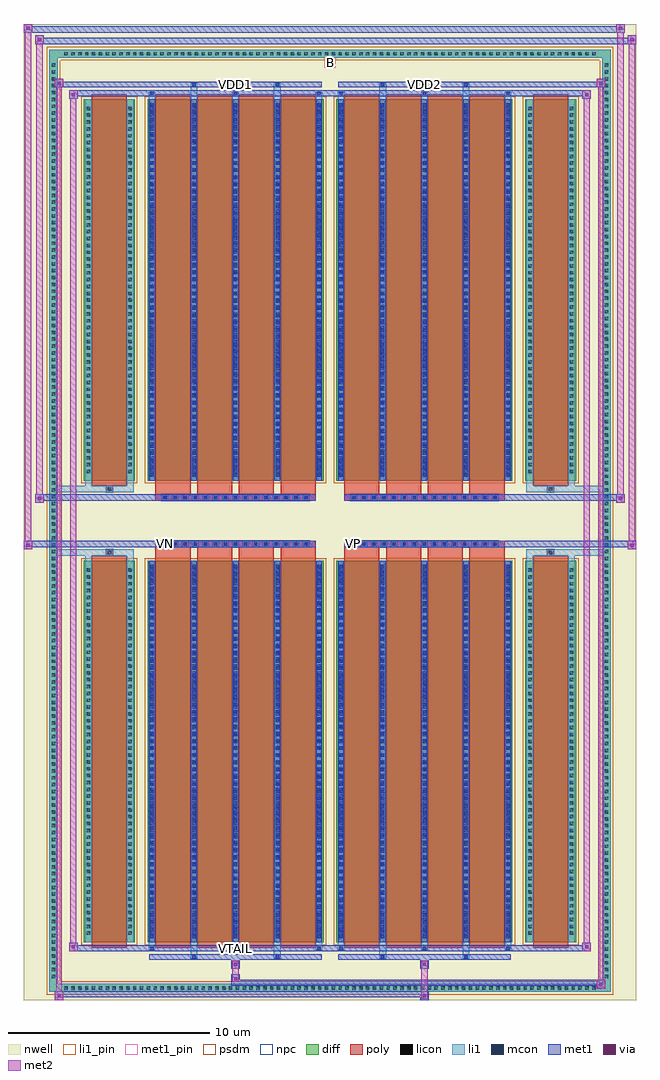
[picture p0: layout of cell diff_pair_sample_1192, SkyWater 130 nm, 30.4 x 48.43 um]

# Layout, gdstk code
import gdstk
lib = gdstk.Library(unit=1e-6, precision=5e-09)
def R(c, l, rs):  # rectangles x0, y0, x1, y1
    for r in rs: c.add(gdstk.rectangle(r[:2], r[2:], *l))
def A(c, l, x, y, w, h, nx, ny, dx, dy):  # array of equal rectangles
    R(c, l, [(x+i*dx, y+j*dy, x+i*dx+w, y+j*dy+h) for i in range(nx) for j in range(ny)])
def P(c, l, *ps):  # polygons
    for p in ps: c.add(gdstk.Polygon(p, *l))
nwell = (64, 20)
diff = (65, 20)
poly = (66, 20)
licon = (66, 44)
li1_pin = (67, 16)
li1 = (67, 20)
mcon = (67, 44)
met1_pin = (68, 16)
met1 = (68, 20)
via = (68, 44)
met2 = (69, 20)
psdm = (94, 20)
npc = (95, 20)

diff_pair_sample_1192 = lib.new_cell('diff_pair_sample_1192')
R(diff_pair_sample_1192, nwell, [(-15.2,-23.78,15.2,24.65), (-12.52,-21.97,-0.01,-0.795), (0.01,-21.97,12.52,-0.795), (-12.52,0.795,-0.01,21.97), (0.01,0.795,12.52,21.97)])
A(diff_pair_sample_1192, diff, -13.295, -23.38, 0.41, 0.41, 78, 2, 0.34, 46.35)
A(diff_pair_sample_1192, diff, -13.93, -22.815, 0.41, 0.41, 1, 134, 0, 0.34)
A(diff_pair_sample_1192, diff, 13.52, -22.815, 0.41, 0.41, 1, 134, 0, 0.34)
R(diff_pair_sample_1192, diff, [(-13.295,-23.38,13.295,-22.97), (-13.93,-22.815,-13.52,22.815), (13.52,-22.815,13.93,22.815), (-12.21,-20.925,-9.69,-1.985), (-9.05,-20.925,-0.32,-1.985), (0.32,-20.925,9.05,-1.985), (9.69,-20.925,12.21,-1.985), (-12.21,1.985,-9.69,20.925), (-9.05,1.985,-0.32,20.925), (0.32,1.985,9.05,20.925), (9.69,1.985,12.21,20.925), (-13.295,22.97,13.295,23.38)])
P(diff_pair_sample_1192, diff, [(13.93,23.38),(-13.93,23.38),(-13.93,-22.97),(-13.52,-22.97),(-13.52,22.97),(13.52,22.97),(13.52,-22.97),(-13.52,-22.97),(-13.93,-22.97),(-13.93,-23.38),(13.93,-23.38)])
A(diff_pair_sample_1192, poly, -8.66, -21.175, 1.74, 19.44, 4, 2, 2.07, 22.91)
A(diff_pair_sample_1192, poly, 0.71, -21.175, 1.74, 19.44, 4, 2, 2.07, 22.91)
A(diff_pair_sample_1192, poly, -8.66, -1.735, 1.74, 0.41, 4, 2, 2.07, 3.06)
A(diff_pair_sample_1192, poly, 0.71, -1.735, 1.74, 0.41, 4, 2, 2.07, 3.06)
A(diff_pair_sample_1192, poly, -8.35, -1.325, 0.33, 0.33, 15, 2, 0.5, 2.32)
A(diff_pair_sample_1192, poly, 1.02, -1.325, 0.33, 0.33, 15, 2, 0.5, 2.32)
R(diff_pair_sample_1192, poly, [(-11.82,-21.175,-10.08,-1.735), (10.08,-21.175,11.82,-1.735), (-11.115,-1.735,-10.785,-1.405), (-11.115,-1.735,-10.785,-1.405), (10.785,-1.735,11.115,-1.405), (10.785,-1.735,11.115,-1.405), (-8.66,-1.325,-0.71,-0.995), (0.71,-1.325,8.66,-0.995), (-8.66,0.995,-0.71,1.325), (0.71,0.995,8.66,1.325), (-11.115,1.405,-10.785,1.735), (-11.115,1.405,-10.785,1.735), (10.785,1.405,11.115,1.735), (10.785,1.405,11.115,1.735), (-11.82,1.735,-10.08,21.175), (10.08,1.735,11.82,21.175)])
A(diff_pair_sample_1192, licon, -13.175, -23.26, 0.17, 0.17, 78, 2, 0.34, 46.35)
A(diff_pair_sample_1192, licon, -13.81, -22.695, 0.17, 0.17, 1, 134, 0, 0.34)
A(diff_pair_sample_1192, licon, 13.64, -22.695, 0.17, 0.17, 1, 134, 0, 0.34)
A(diff_pair_sample_1192, licon, -12.07, -20.55, 0.17, 0.17, 1, 54, 0, 0.34)
A(diff_pair_sample_1192, licon, -10, -20.55, 0.17, 0.17, 1, 54, 0, 0.34)
A(diff_pair_sample_1192, licon, -8.91, -20.55, 0.17, 0.17, 5, 54, 2.07, 0.34)
A(diff_pair_sample_1192, licon, 0.46, -20.55, 0.17, 0.17, 5, 54, 2.07, 0.34)
A(diff_pair_sample_1192, licon, 9.83, -20.55, 0.17, 0.17, 1, 54, 0, 0.34)
A(diff_pair_sample_1192, licon, 11.9, -20.55, 0.17, 0.17, 1, 54, 0, 0.34)
A(diff_pair_sample_1192, licon, -8.27, -1.245, 0.17, 0.17, 15, 2, 0.5, 2.32)
A(diff_pair_sample_1192, licon, 1.1, -1.245, 0.17, 0.17, 15, 2, 0.5, 2.32)
A(diff_pair_sample_1192, licon, -12.07, 2.36, 0.17, 0.17, 1, 54, 0, 0.34)
A(diff_pair_sample_1192, licon, -10, 2.36, 0.17, 0.17, 1, 54, 0, 0.34)
A(diff_pair_sample_1192, licon, -8.91, 2.36, 0.17, 0.17, 5, 54, 2.07, 0.34)
A(diff_pair_sample_1192, licon, 0.46, 2.36, 0.17, 0.17, 5, 54, 2.07, 0.34)
A(diff_pair_sample_1192, licon, 9.83, 2.36, 0.17, 0.17, 1, 54, 0, 0.34)
A(diff_pair_sample_1192, licon, 11.9, 2.36, 0.17, 0.17, 1, 54, 0, 0.34)
R(diff_pair_sample_1192, licon, [(-11.035,-1.655,-10.865,-1.485), (10.865,-1.655,11.035,-1.485), (-11.035,1.485,-10.865,1.655), (10.865,1.485,11.035,1.655)])
R(diff_pair_sample_1192, li1_pin, [(-0.25,22.47,0.25,22.97)])
A(diff_pair_sample_1192, li1, -13.255, -23.34, 0.33, 0.33, 78, 2, 0.34, 46.35)
A(diff_pair_sample_1192, li1, -13.89, -22.775, 0.33, 0.33, 1, 134, 0, 0.34)
A(diff_pair_sample_1192, li1, 13.56, -22.775, 0.33, 0.33, 1, 134, 0, 0.34)
A(diff_pair_sample_1192, li1, -8.99, -21.3, 0.33, 0.375, 3, 2, 4.14, 42.225)
A(diff_pair_sample_1192, li1, -8.91, -21.3, 0.17, 0.17, 3, 2, 4.14, 42.43)
A(diff_pair_sample_1192, li1, 0.38, -21.3, 0.33, 0.375, 3, 2, 4.14, 42.225)
A(diff_pair_sample_1192, li1, 0.46, -21.3, 0.17, 0.17, 3, 2, 4.14, 42.43)
A(diff_pair_sample_1192, li1, -8.99, -20.925, 0.33, 18.94, 5, 2, 2.07, 22.91)
A(diff_pair_sample_1192, li1, 0.38, -20.925, 0.33, 18.94, 5, 2, 2.07, 22.91)
A(diff_pair_sample_1192, li1, -8.91, -20.72, 0.17, 0.17, 5, 52, 2.07, 0.36)
A(diff_pair_sample_1192, li1, -8.91, -20.72, 0.17, 18.53, 5, 2, 2.07, 22.91)
A(diff_pair_sample_1192, li1, 0.46, -20.72, 0.17, 0.17, 5, 52, 2.07, 0.36)
A(diff_pair_sample_1192, li1, 0.46, -20.72, 0.17, 18.53, 5, 2, 2.07, 22.91)
A(diff_pair_sample_1192, li1, -12.15, -20.63, 0.33, 0.33, 1, 54, 0, 0.34)
A(diff_pair_sample_1192, li1, -10.08, -20.63, 0.33, 0.33, 1, 54, 0, 0.34)
A(diff_pair_sample_1192, li1, -8.99, -20.63, 0.33, 0.33, 5, 54, 2.07, 0.34)
A(diff_pair_sample_1192, li1, 0.38, -20.63, 0.33, 0.33, 5, 54, 2.07, 0.34)
A(diff_pair_sample_1192, li1, 9.75, -20.63, 0.33, 0.33, 1, 54, 0, 0.34)
A(diff_pair_sample_1192, li1, 11.82, -20.63, 0.33, 0.33, 1, 54, 0, 0.34)
A(diff_pair_sample_1192, li1, -8.35, -1.325, 0.33, 0.33, 15, 2, 0.5, 2.32)
A(diff_pair_sample_1192, li1, 1.02, -1.325, 0.33, 0.33, 15, 2, 0.5, 2.32)
A(diff_pair_sample_1192, li1, -8.91, 2.19, 0.17, 0.17, 5, 52, 2.07, 0.36)
A(diff_pair_sample_1192, li1, 0.46, 2.19, 0.17, 0.17, 5, 52, 2.07, 0.36)
A(diff_pair_sample_1192, li1, -12.15, 2.28, 0.33, 0.33, 1, 54, 0, 0.34)
A(diff_pair_sample_1192, li1, -10.08, 2.28, 0.33, 0.33, 1, 54, 0, 0.34)
A(diff_pair_sample_1192, li1, -8.99, 2.28, 0.33, 0.33, 5, 54, 2.07, 0.34)
A(diff_pair_sample_1192, li1, 0.38, 2.28, 0.33, 0.33, 5, 54, 2.07, 0.34)
A(diff_pair_sample_1192, li1, 9.75, 2.28, 0.33, 0.33, 1, 54, 0, 0.34)
A(diff_pair_sample_1192, li1, 11.82, 2.28, 0.33, 0.33, 1, 54, 0, 0.34)
R(diff_pair_sample_1192, li1, [(-13.93,-23.38,-13.52,-22.97), (-13.93,-23.38,-13.52,-22.97), (-13.52,-23.38,13.52,-22.97), (13.52,-23.38,13.93,-22.97), (13.52,-23.38,13.93,-22.97), (-13.93,-22.97,-13.52,22.97), (13.52,-22.97,13.93,22.97), (-6.92,-21.73,-6.59,-20.925), (-6.84,-21.73,-6.67,-21.56), (-2.78,-21.73,-2.45,-20.925), (-2.7,-21.73,-2.53,-21.56), (2.45,-21.73,2.78,-20.925), (2.53,-21.73,2.7,-21.56), (6.59,-21.73,6.92,-20.925), (6.67,-21.73,6.84,-21.56), (-12.15,-20.925,-11.82,-1.985), (-10.08,-20.925,-9.75,-1.985), (9.75,-20.925,10.08,-1.985), (11.82,-20.925,12.15,-1.985), (-12.15,-1.985,-11.82,-1.405), (-10.08,-1.985,-9.75,-1.405), (9.75,-1.985,10.08,-1.405), (11.82,-1.985,12.15,-1.405), (-13.93,-1.735,-11.115,-1.405), (-12.15,-1.735,-11.115,-1.405), (-11.115,-1.735,-10.785,-1.405), (-10.785,-1.735,-9.75,-1.405), (9.75,-1.735,10.785,-1.405), (10.785,-1.735,11.115,-1.405), (10.785,-1.735,13.93,-1.405), (11.115,-1.735,12.15,-1.405), (-13.93,1.405,-11.115,1.735), (-12.15,1.405,-11.115,1.735), (-12.15,1.405,-11.82,1.985), (-11.115,1.405,-10.785,1.735), (-10.785,1.405,-9.75,1.735), (-10.08,1.405,-9.75,1.985), (9.75,1.405,10.785,1.735), (9.75,1.405,10.08,1.985), (10.785,1.405,11.115,1.735), (10.785,1.405,13.93,1.735), (11.115,1.405,12.15,1.735), (11.82,1.405,12.15,1.985), (-12.15,1.985,-11.82,20.925), (-10.08,1.985,-9.75,20.925), (9.75,1.985,10.08,20.925), (11.82,1.985,12.15,20.925), (-6.92,20.925,-6.59,21.73), (-2.78,20.925,-2.45,21.73), (2.45,20.925,2.78,21.73), (6.59,20.925,6.92,21.73), (-6.84,21.56,-6.67,21.73), (-2.7,21.56,-2.53,21.73), (2.53,21.56,2.7,21.73), (6.67,21.56,6.84,21.73), (-13.93,22.97,-13.52,23.38), (-13.93,22.97,-13.52,23.38), (-13.52,22.97,13.52,23.38), (13.52,22.97,13.93,23.38), (13.52,22.97,13.93,23.38)])
A(diff_pair_sample_1192, mcon, -8.91, -21.3, 0.17, 0.17, 3, 2, 4.14, 42.43)
A(diff_pair_sample_1192, mcon, 0.46, -21.3, 0.17, 0.17, 3, 2, 4.14, 42.43)
A(diff_pair_sample_1192, mcon, -8.91, -20.72, 0.17, 0.17, 5, 52, 2.07, 0.36)
A(diff_pair_sample_1192, mcon, 0.46, -20.72, 0.17, 0.17, 5, 52, 2.07, 0.36)
A(diff_pair_sample_1192, mcon, -8.27, -1.245, 0.17, 0.17, 15, 2, 0.5, 2.32)
A(diff_pair_sample_1192, mcon, 1.1, -1.245, 0.17, 0.17, 15, 2, 0.5, 2.32)
A(diff_pair_sample_1192, mcon, -8.91, 2.19, 0.17, 0.17, 5, 52, 2.07, 0.36)
A(diff_pair_sample_1192, mcon, 0.46, 2.19, 0.17, 0.17, 5, 52, 2.07, 0.36)
R(diff_pair_sample_1192, mcon, [(-6.84,-21.73,-6.67,-21.56), (-2.7,-21.73,-2.53,-21.56), (2.53,-21.73,2.7,-21.56), (6.67,-21.73,6.84,-21.56), (-6.84,21.56,-6.67,21.73), (-2.7,21.56,-2.53,21.73), (2.53,21.56,2.7,21.73), (6.67,21.56,6.84,21.73)])
R(diff_pair_sample_1192, met1_pin, [(-4.82,-21.34,-4.55,-21.07), (-8.32,-1.285,-8.05,-1.015), (1.05,-1.285,1.32,-1.015), (-4.82,21.52,-4.55,21.79), (4.55,21.52,4.82,21.79)])
A(diff_pair_sample_1192, met1, -8.97, -21.36, 0.29, 0.29, 3, 2, 4.14, 42.43)
A(diff_pair_sample_1192, met1, 0.4, -21.36, 0.29, 0.29, 3, 2, 4.14, 42.43)
A(diff_pair_sample_1192, met1, -8.97, -20.925, 0.29, 18.94, 5, 2, 2.07, 22.91)
A(diff_pair_sample_1192, met1, 0.4, -20.925, 0.29, 18.94, 5, 2, 2.07, 22.91)
A(diff_pair_sample_1192, met1, -8.97, -20.78, 0.29, 0.29, 5, 52, 2.07, 0.36)
A(diff_pair_sample_1192, met1, 0.4, -20.78, 0.29, 0.29, 5, 52, 2.07, 0.36)
A(diff_pair_sample_1192, met1, -8.33, -1.305, 0.29, 0.29, 15, 2, 0.5, 2.32)
A(diff_pair_sample_1192, met1, 1.04, -1.305, 0.29, 0.29, 15, 2, 0.5, 2.32)
A(diff_pair_sample_1192, met1, -8.97, 2.13, 0.29, 0.29, 5, 52, 2.07, 0.36)
A(diff_pair_sample_1192, met1, 0.4, 2.13, 0.29, 0.29, 5, 52, 2.07, 0.36)
R(diff_pair_sample_1192, met1, [(-13.66,-23.78,-13.23,-23.35), (4.47,-23.78,4.9,-23.35), (-13.66,-23.64,4.9,-23.35), (13.23,-23.21,13.66,-22.78), (-4.9,-23.07,13.66,-22.78), (-4.9,-22.93,-4.47,-22.5), (-4.9,-22.22,-4.47,-21.79), (4.47,-22.22,4.9,-21.79), (-8.97,-21.79,-0.4,-21.5), (-6.9,-21.79,-6.61,-21.5), (-2.76,-21.79,-2.47,-21.5), (0.4,-21.79,8.97,-21.5), (2.47,-21.79,2.76,-21.5), (6.61,-21.79,6.9,-21.5), (-12.95,-21.36,-12.52,-20.93), (-12.95,-21.36,-8.97,-21.07), (-8.97,-21.36,-0.4,-21.07), (-0.4,-21.36,0.4,-21.07), (0.4,-21.36,8.97,-21.07), (8.97,-21.36,12.95,-21.07), (12.52,-21.36,12.95,-20.93), (-15.2,-1.425,-14.77,-0.995), (14.77,-1.425,15.2,-0.995), (-15.2,-1.325,-0.71,-0.995), (-8.66,-1.325,-0.71,-0.995), (0.71,-1.325,8.66,-0.995), (0.71,-1.325,15.2,-0.995), (-14.63,0.895,-14.2,1.325), (14.2,0.895,14.63,1.325), (-14.63,0.995,-8.66,1.325), (-8.66,0.995,-0.71,1.325), (0.71,0.995,8.66,1.325), (8.66,0.995,14.63,1.325), (-12.95,20.93,-12.52,21.36), (12.52,20.93,12.95,21.36), (-12.95,21.07,-8.97,21.36), (-8.97,21.07,-0.4,21.36), (-0.4,21.07,0.4,21.36), (0.4,21.07,8.97,21.36), (8.97,21.07,12.95,21.36), (-13.66,21.5,-13.23,21.93), (-13.66,21.5,-8.97,21.79), (-8.97,21.5,-0.4,21.79), (-6.9,21.5,-6.61,21.79), (-2.76,21.5,-2.47,21.79), (0.4,21.5,8.97,21.79), (2.47,21.5,2.76,21.79), (6.61,21.5,6.9,21.79), (8.97,21.5,13.66,21.79), (13.23,21.5,13.66,21.93), (-14.63,23.65,-14.2,24.08), (-14.63,23.65,-12.52,23.98), (-12.52,23.65,12.52,23.98), (12.52,23.65,15.2,23.98), (14.77,23.65,15.2,24.08), (-15.2,24.22,-14.77,24.65), (-15.2,24.22,-12.52,24.55), (-12.52,24.22,12.52,24.55), (12.52,24.22,14.63,24.55), (14.2,24.22,14.63,24.65)])
R(diff_pair_sample_1192, via, [(-13.52,-23.64,-13.37,-23.49), (4.61,-23.64,4.76,-23.49), (13.37,-23.07,13.52,-22.92), (-4.76,-22.79,-4.61,-22.64), (-4.76,-22.08,-4.61,-21.93), (4.61,-22.08,4.76,-21.93), (-12.81,-21.22,-12.66,-21.07), (12.66,-21.22,12.81,-21.07), (-15.06,-1.285,-14.91,-1.135), (14.91,-1.285,15.06,-1.135), (-14.49,1.035,-14.34,1.185), (14.34,1.035,14.49,1.185), (-12.81,21.07,-12.66,21.22), (12.66,21.07,12.81,21.22), (-13.52,21.64,-13.37,21.79), (13.37,21.64,13.52,21.79), (-14.49,23.79,-14.34,23.94), (14.91,23.79,15.06,23.94), (-15.06,24.36,-14.91,24.51), (14.34,24.36,14.49,24.51)])
R(diff_pair_sample_1192, met2, [(-13.66,-23.78,-13.23,-23.35), (-13.59,-23.78,-13.3,21.93), (-13.3,-23.78,-13.23,-23.35), (-13.61,-23.73,-13.28,-23.4), (4.52,-23.73,4.85,-23.4), (4.52,-23.4,4.85,-22.17), (13.23,-23.21,13.66,-22.78), (13.3,-23.21,13.59,21.93), (13.59,-23.21,13.66,-22.78), (13.28,-23.16,13.61,-22.83), (-4.85,-22.88,-4.52,-22.55), (-4.85,-22.55,-4.52,-22.17), (-4.85,-22.17,-4.52,-21.84), (4.52,-22.17,4.85,-21.84), (-12.95,-21.36,-12.52,-20.93), (-12.88,-21.36,-12.59,21.36), (-12.59,-21.36,-12.52,-20.93), (12.52,-21.36,12.95,-20.93), (12.59,-21.36,12.88,21.36), (12.88,-21.36,12.95,-20.93), (-12.9,-21.31,-12.57,-20.98), (12.57,-21.31,12.9,-20.98), (-15.2,-1.425,-14.77,-0.995), (-15.15,-1.425,-14.82,24.65), (-14.82,-1.425,-14.77,-0.995), (14.77,-1.425,15.2,-0.995), (14.82,-1.425,15.15,24.08), (15.15,-1.425,15.2,-0.995), (-15.15,-1.375,-14.82,-1.045), (14.82,-1.375,15.15,-1.045), (-14.63,0.895,-14.2,1.325), (-14.58,0.895,-14.25,24.08), (-14.25,0.895,-14.2,1.325), (14.2,0.895,14.63,1.325), (14.25,0.895,14.58,24.65), (14.58,0.895,14.63,1.325), (-14.58,0.945,-14.25,1.275), (14.25,0.945,14.58,1.275), (-12.95,20.93,-12.52,21.36), (-12.59,20.93,-12.52,21.36), (12.52,20.93,12.95,21.36), (12.88,20.93,12.95,21.36), (-12.9,20.98,-12.57,21.31), (12.57,20.98,12.9,21.31), (-13.66,21.5,-13.23,21.93), (-13.3,21.5,-13.23,21.93), (13.23,21.5,13.66,21.93), (13.59,21.5,13.66,21.93), (-13.61,21.55,-13.28,21.88), (13.28,21.55,13.61,21.88), (-14.63,23.65,-14.2,24.08), (-14.25,23.65,-14.2,24.08), (14.77,23.65,15.2,24.08), (15.15,23.65,15.2,24.08), (-14.58,23.7,-14.25,24.03), (14.82,23.7,15.15,24.03), (-15.2,24.22,-14.77,24.65), (-14.82,24.22,-14.77,24.65), (14.2,24.22,14.63,24.65), (14.58,24.22,14.63,24.65), (-15.15,24.27,-14.82,24.6), (14.25,24.27,14.58,24.6)])
R(diff_pair_sample_1192, psdm, [(-12.34,-21.055,-9.56,-1.855), (-9.18,-21.055,-0.19,-1.855), (0.19,-21.055,9.18,-1.855), (9.56,-21.055,12.34,-1.855), (-12.34,1.855,-9.56,21.055), (-9.18,1.855,-0.19,21.055), (0.19,1.855,9.18,21.055), (9.56,1.855,12.34,21.055)])
P(diff_pair_sample_1192, psdm, [(14.06,23.51),(-14.06,23.51),(-14.06,-22.84),(-13.39,-22.84),(-13.39,22.84),(13.39,22.84),(13.39,-22.84),(-13.39,-22.84),(-14.06,-22.84),(-14.06,-23.51),(14.06,-23.51)])
A(diff_pair_sample_1192, npc, -8.37, -1.345, 0.37, 0.37, 15, 2, 0.5, 2.32)
A(diff_pair_sample_1192, npc, 1, -1.345, 0.37, 0.37, 15, 2, 0.5, 2.32)
R(diff_pair_sample_1192, npc, [(-11.135,-1.755,-10.765,-1.385), (10.765,-1.755,11.135,-1.385), (-8.37,-1.345,-7.5,-0.975), (-8.37,-1.345,-7.5,-0.975), (-7.87,-1.345,-7,-0.975), (-7.87,-1.345,-7,-0.975), (-7.37,-1.345,-6.5,-0.975), (-7.37,-1.345,-6.5,-0.975), (-6.87,-1.345,-6,-0.975), (-6.87,-1.345,-6,-0.975), (-6.37,-1.345,-5.5,-0.975), (-6.37,-1.345,-5.5,-0.975), (-5.87,-1.345,-5,-0.975), (-5.87,-1.345,-5,-0.975), (-5.37,-1.345,-4.5,-0.975), (-5.37,-1.345,-4.5,-0.975), (-4.87,-1.345,-4,-0.975), (-4.87,-1.345,-4,-0.975), (-4.37,-1.345,-3.5,-0.975), (-4.37,-1.345,-3.5,-0.975), (-3.87,-1.345,-3,-0.975), (-3.87,-1.345,-3,-0.975), (-3.37,-1.345,-2.5,-0.975), (-3.37,-1.345,-2.5,-0.975), (-2.87,-1.345,-2,-0.975), (-2.87,-1.345,-2,-0.975), (-2.37,-1.345,-1.5,-0.975), (-2.37,-1.345,-1.5,-0.975), (-1.87,-1.345,-1,-0.975), (-1.87,-1.345,-1,-0.975), (1,-1.345,1.87,-0.975), (1,-1.345,1.87,-0.975), (1.5,-1.345,2.37,-0.975), (1.5,-1.345,2.37,-0.975), (2,-1.345,2.87,-0.975), (2,-1.345,2.87,-0.975), (2.5,-1.345,3.37,-0.975), (2.5,-1.345,3.37,-0.975), (3,-1.345,3.87,-0.975), (3,-1.345,3.87,-0.975), (3.5,-1.345,4.37,-0.975), (3.5,-1.345,4.37,-0.975), (4,-1.345,4.87,-0.975), (4,-1.345,4.87,-0.975), (4.5,-1.345,5.37,-0.975), (4.5,-1.345,5.37,-0.975), (5,-1.345,5.87,-0.975), (5,-1.345,5.87,-0.975), (5.5,-1.345,6.37,-0.975), (5.5,-1.345,6.37,-0.975), (6,-1.345,6.87,-0.975), (6,-1.345,6.87,-0.975), (6.5,-1.345,7.37,-0.975), (6.5,-1.345,7.37,-0.975), (7,-1.345,7.87,-0.975), (7,-1.345,7.87,-0.975), (7.5,-1.345,8.37,-0.975), (7.5,-1.345,8.37,-0.975), (-8.37,0.975,-7.5,1.345), (-8.37,0.975,-7.5,1.345), (-7.87,0.975,-7,1.345), (-7.87,0.975,-7,1.345), (-7.37,0.975,-6.5,1.345), (-7.37,0.975,-6.5,1.345), (-6.87,0.975,-6,1.345), (-6.87,0.975,-6,1.345), (-6.37,0.975,-5.5,1.345), (-6.37,0.975,-5.5,1.345), (-5.87,0.975,-5,1.345), (-5.87,0.975,-5,1.345), (-5.37,0.975,-4.5,1.345), (-5.37,0.975,-4.5,1.345), (-4.87,0.975,-4,1.345), (-4.87,0.975,-4,1.345), (-4.37,0.975,-3.5,1.345), (-4.37,0.975,-3.5,1.345), (-3.87,0.975,-3,1.345), (-3.87,0.975,-3,1.345), (-3.37,0.975,-2.5,1.345), (-3.37,0.975,-2.5,1.345), (-2.87,0.975,-2,1.345), (-2.87,0.975,-2,1.345), (-2.37,0.975,-1.5,1.345), (-2.37,0.975,-1.5,1.345), (-1.87,0.975,-1,1.345), (-1.87,0.975,-1,1.345), (1,0.975,1.87,1.345), (1,0.975,1.87,1.345), (1.5,0.975,2.37,1.345), (1.5,0.975,2.37,1.345), (2,0.975,2.87,1.345), (2,0.975,2.87,1.345), (2.5,0.975,3.37,1.345), (2.5,0.975,3.37,1.345), (3,0.975,3.87,1.345), (3,0.975,3.87,1.345), (3.5,0.975,4.37,1.345), (3.5,0.975,4.37,1.345), (4,0.975,4.87,1.345), (4,0.975,4.87,1.345), (4.5,0.975,5.37,1.345), (4.5,0.975,5.37,1.345), (5,0.975,5.87,1.345), (5,0.975,5.87,1.345), (5.5,0.975,6.37,1.345), (5.5,0.975,6.37,1.345), (6,0.975,6.87,1.345), (6,0.975,6.87,1.345), (6.5,0.975,7.37,1.345), (6.5,0.975,7.37,1.345), (7,0.975,7.87,1.345), (7,0.975,7.87,1.345), (7.5,0.975,8.37,1.345), (7.5,0.975,8.37,1.345), (-11.135,1.385,-10.765,1.755), (10.765,1.385,11.135,1.755)])
diff_pair_sample_1192.add(gdstk.Label('VTAIL', (-4.685,-21.205), layer=68, texttype=5))
diff_pair_sample_1192.add(gdstk.Label('VN', (-8.185,-1.15), layer=68, texttype=5))
diff_pair_sample_1192.add(gdstk.Label('VP', (1.185,-1.15), layer=68, texttype=5))
diff_pair_sample_1192.add(gdstk.Label('B', (0,22.72), layer=67, texttype=5))
diff_pair_sample_1192.add(gdstk.Label('VDD2', (4.685,21.655), layer=68, texttype=5))
diff_pair_sample_1192.add(gdstk.Label('VDD1', (-4.685,21.655), layer=68, texttype=5))

lib.write_gds('diff_pair_sample_1192.gds')
